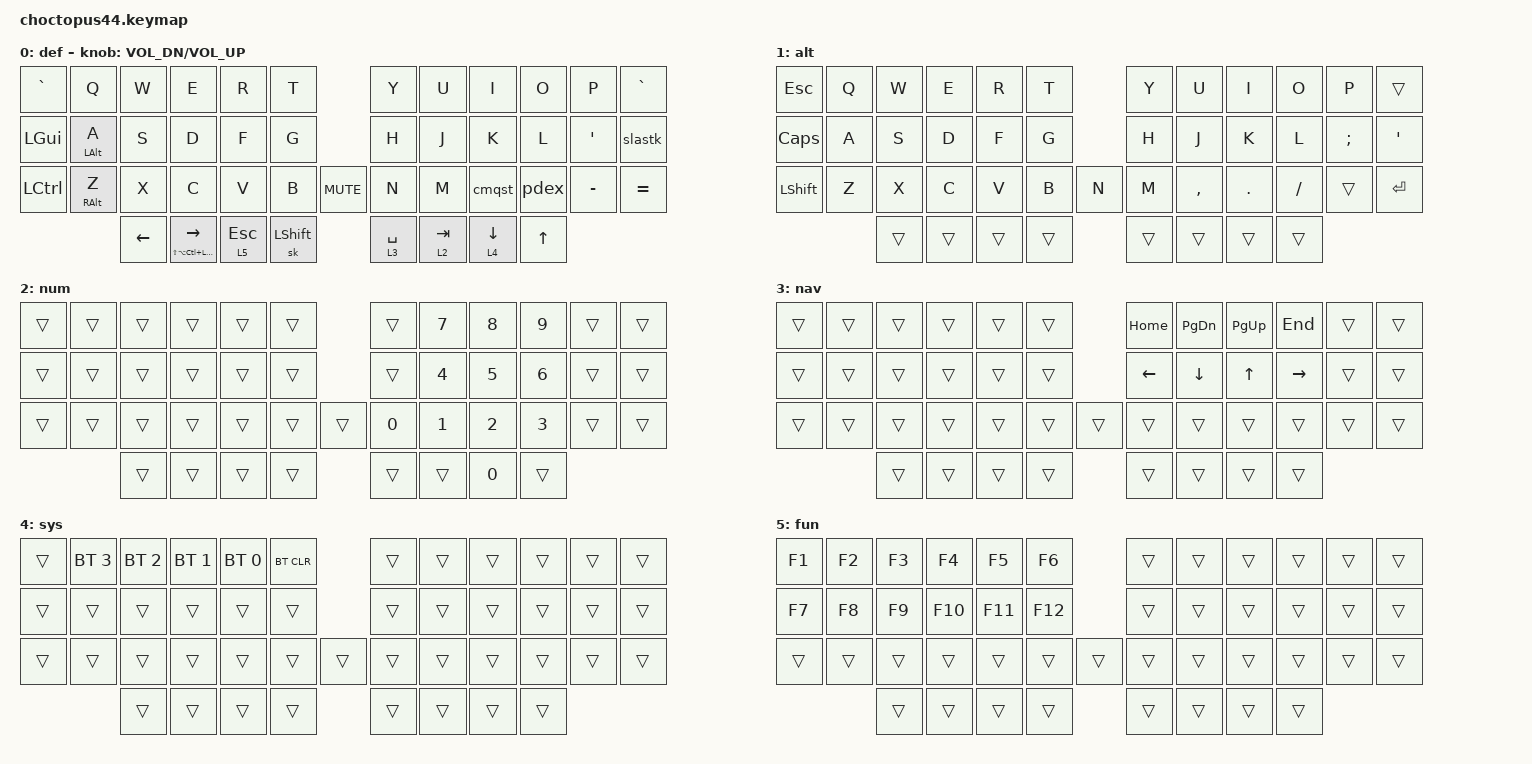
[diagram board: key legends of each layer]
/*
 * Copyright (c) 2021 The ZMK Contributors
 *
 * SPDX-License-Identifier: MIT
 */

#include <behaviors.dtsi>
#include <dt-bindings/zmk/bt.h>
#include <dt-bindings/zmk/keys.h>

&mt {
    tapping-term-ms = <280>;
    flavor = "balanced";
    quick-tap-ms = <175>;
    require-prior-idle-ms = <150>;
    hold-trigger-on-release;
};

&sk {
    release-after-ms = <500>;
    quick-release;
};

/ {
    combos {
        compatible = "zmk,combos";

        del {
            bindings = <&kp BACKSPACE>;
            key-positions = <19 20>;
        };

        delii {
            bindings = <&kp BACKSPACE>;
            key-positions = <16 15>;
        };

        dword {
            bindings = <&kp LA(BACKSPACE)>;
            key-positions = <19 21>;
        };

        dwordii {
            bindings = <&kp LA(BACKSPACE)>;
            key-positions = <14 16>;
        };

        dline {
            bindings = <&kp LG(RET)>;
            key-positions = <19 22>;
        };

        dlineii {
            bindings = <&kp LG(RET)>;
            key-positions = <16 13>;
        };

        ret {
            bindings = <&kp RET>;
            key-positions = <22 41>;
        };

        retii {
            bindings = <&kp RET>;
            key-positions = <13 40>;
        };

        boot {
            bindings = <&bootloader>;
            key-positions = <0 11>;
        };

        oprn {
            bindings = <&oprn>;
            key-positions = <7 8>;
        };

        cprn {
            bindings = <&cprn>;
            key-positions = <8 9>;
        };

        obkt {
            bindings = <&kp LEFT_BRACKET>;
            key-positions = <32 33>;
        };

        cbkt {
            bindings = <&kp RIGHT_BRACKET>;
            key-positions = <33 34>;
        };

        semi {
            bindings = <&kp SEMI>;
            key-positions = <20 21>;
        };

        eol {
            bindings = <&kp LS(N4)>;
            key-positions = <7 19>;
        };

        ampr {
            bindings = <&kp LS(N7)>;
            key-positions = <8 20>;
        };

        pipe {
            bindings = <&kp LS(BACKSLASH)>;
            key-positions = <9 21>;
        };

        bslh {
            bindings = <&kp BACKSLASH>;
            key-positions = <21 22>;
        };

        hash {
            bindings = <&kp LS(N3)>;
            key-positions = <19 32>;
        };

        pct {
            bindings = <&kp LS(N5)>;
            key-positions = <33 20>;
        };

        cut {
            bindings = <&kp LG(X)>;
            key-positions = <28 26>;
        };

        copy {
            bindings = <&kp LG(C)>;
            key-positions = <26 27>;
        };

        pste {
            bindings = <&kp LG(V)>;
            key-positions = <28 27>;
        };

        undo {
            bindings = <&kp LG(Z)>;
            key-positions = <25 26>;
        };

        redo {
            bindings = <&kp LG(LS(Z))>;
            key-positions = <29 28>;
        };

        atsn {
            bindings = <&kp LS(N2)>;
            key-positions = <3 15>;
        };

        bol {
            bindings = <&kp LS(N6)>;
            key-positions = <4 16>;
        };
    };

    behaviors {
        cmqst: cmqst {
            compatible = "zmk,behavior-mod-morph";
            label = "CMQST";
            bindings = <&kp COMMA>, <&kp LS(FSLH)>;

            #binding-cells = <0>;
            mods = <(MOD_LSFT|MOD_RSFT)>;
        };

        pdex: pdex {
            compatible = "zmk,behavior-mod-morph";
            label = "PDEX";
            bindings = <&kp PERIOD>, <&kp LS(N1)>;

            #binding-cells = <0>;
            mods = <(MOD_LSFT|MOD_RSFT)>;
        };

        slastk: slastk {
            compatible = "zmk,behavior-mod-morph";
            label = "SLASTK";
            bindings = <&kp FSLH>, <&kp LS(N8)>;

            #binding-cells = <0>;
            mods = <(MOD_LSFT|MOD_RSFT)>;
        };

        oprn: oprn {
            compatible = "zmk,behavior-mod-morph";
            label = "OPRN";
            bindings = <&kp LS(N9)>, <&kp LS(COMMA)>;

            #binding-cells = <0>;
            mods = <(MOD_LSFT|MOD_RSFT)>;
        };

        cprn: cprn {
            compatible = "zmk,behavior-mod-morph";
            label = "CPRN";
            bindings = <&kp LS(N0)>, <&kp LS(PERIOD)>;

            #binding-cells = <0>;
            mods = <(MOD_LSFT|MOD_RSFT)>;
        };
    };

    keymap {
        compatible = "zmk,keymap";

        def {
            bindings = <
&kp GRAVE     &kp Q            &kp W     &kp E                       &kp R         &kp T                       &kp Y        &kp U      &kp I       &kp O         &kp P      &kp GRAVE
&kp LEFT_GUI  &mt LEFT_ALT A   &kp S     &kp D                       &kp F         &kp G                       &kp H        &kp J      &kp K       &kp L         &kp SQT    &slastk
&kp LCTRL     &mt RIGHT_ALT Z  &kp X     &kp C                       &kp V         &kp B           &kp C_MUTE  &kp N        &kp M      &cmqst      &pdex         &kp MINUS  &kp EQUAL
                               &kp LEFT  &mt LS(LA(LC(LGUI))) RIGHT  &lt 5 ESCAPE  &sk LEFT_SHIFT              &lt 3 SPACE  &lt 2 TAB  &lt 4 DOWN  &kp UP_ARROW
            >;

            sensor-bindings = <&inc_dec_kp C_VOL_DN C_VOL_UP>;
        };

        alt {
            bindings = <
&kp ESC    &kp Q  &kp W   &kp E   &kp R   &kp T          &kp Y   &kp U      &kp I    &kp O     &kp P     &trans
&kp CAPS   &kp A  &kp S   &kp D   &kp F   &kp G          &kp H   &kp J      &kp K    &kp L     &kp SEMI  &kp SQT
&kp LSHFT  &kp Z  &kp X   &kp C   &kp V   &kp B   &kp N  &kp M   &kp COMMA  &kp DOT  &kp FSLH  &trans    &kp ENTER
                  &trans  &trans  &trans  &trans         &trans  &trans     &trans   &trans
            >;
        };

        num {
            bindings = <
&trans  &trans  &trans  &trans  &trans  &trans          &trans  &kp N7  &kp N8  &kp N9  &trans  &trans
&trans  &trans  &trans  &trans  &trans  &trans          &trans  &kp N4  &kp N5  &kp N6  &trans  &trans
&trans  &trans  &trans  &trans  &trans  &trans  &trans  &kp N0  &kp N1  &kp N2  &kp N3  &trans  &trans
                &trans  &trans  &trans  &trans          &trans  &trans  &kp N0  &trans
            >;
        };

        nav {
            bindings = <
&trans  &trans  &trans  &trans  &trans  &trans          &kp HOME  &kp PAGE_DOWN  &kp PAGE_UP  &kp END    &trans  &trans
&trans  &trans  &trans  &trans  &trans  &trans          &kp LEFT  &kp DOWN       &kp UP       &kp RIGHT  &trans  &trans
&trans  &trans  &trans  &trans  &trans  &trans  &trans  &trans    &trans         &trans       &trans     &trans  &trans
                &trans  &trans  &trans  &trans          &trans    &trans         &trans       &trans
            >;
        };

        sys {
            bindings = <
&trans  &bt BT_SEL 3  &bt BT_SEL 2  &bt BT_SEL 1  &bt BT_SEL 0  &bt BT_CLR          &trans  &trans  &trans  &trans  &trans  &trans
&trans  &trans        &trans        &trans        &trans        &trans              &trans  &trans  &trans  &trans  &trans  &trans
&trans  &trans        &trans        &trans        &trans        &trans      &trans  &trans  &trans  &trans  &trans  &trans  &trans
                      &trans        &trans        &trans        &trans              &trans  &trans  &trans  &trans
            >;
        };

        fun {
            bindings = <
&kp F1  &kp F2  &kp F3  &kp F4   &kp F5   &kp F6           &trans  &trans  &trans  &trans  &trans  &trans
&kp F7  &kp F8  &kp F9  &kp F10  &kp F11  &kp F12          &trans  &trans  &trans  &trans  &trans  &trans
&trans  &trans  &trans  &trans   &trans   &trans   &trans  &trans  &trans  &trans  &trans  &trans  &trans
                &trans  &trans   &trans   &trans           &trans  &trans  &trans  &trans
            >;
        };
    };
};
